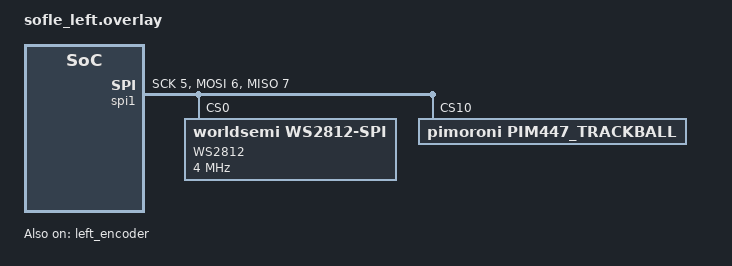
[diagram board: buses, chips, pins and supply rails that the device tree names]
/*
 * Copyright (c) 2020 Ryan Cross
 *
 * SPDX-License-Identifier: MIT
 */

#include "sofle.dtsi"

&kscan0 {
	col-gpios
		= <&pro_micro 19 GPIO_ACTIVE_HIGH>
		, <&pro_micro 18 GPIO_ACTIVE_HIGH>
		, <&pro_micro 15 GPIO_ACTIVE_HIGH>
		, <&pro_micro 14 GPIO_ACTIVE_HIGH>
		, <&pro_micro 16 GPIO_ACTIVE_HIGH>
		, <&pro_micro 10 GPIO_ACTIVE_HIGH>
		;
};

&spi1 {
	compatible = "nordic,nrf-spim";
	status = "okay";
	mosi-pin = <6>;
	// Unused pins, needed for SPI definition, but not used by the ws2812 driver itself.
	sck-pin = <5>;
	miso-pin = <7>;

	led_strip: ws2812@0 {
		compatible = "worldsemi,ws2812-spi";
		label = "WS2812";

		/* SPI */
		reg = <0>; /* ignored, but necessary for SPI bindings */
		spi-max-frequency = <4000000>;

		/* WS2812 */
		chain-length = <11>; /* number of LEDs */
		spi-one-frame = <0x70>;
		spi-zero-frame = <0x40>;
	};
	
	pim447_trackball@a {
		compatible = "pimoroni,pim447_trackball";
		reg = <0x0a>;
		label = "PIM447_TRACKBALL";
	};
};
&left_encoder {
	status = "okay";
};
